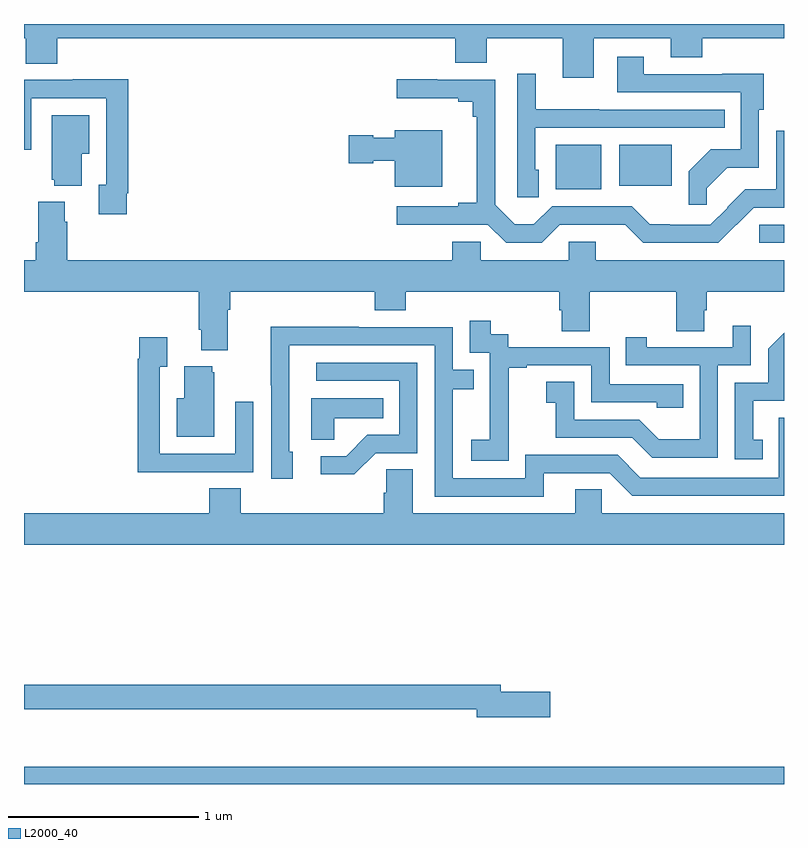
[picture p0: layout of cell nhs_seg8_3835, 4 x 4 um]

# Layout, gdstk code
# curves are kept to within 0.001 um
import gdstk
lib = gdstk.Library(unit=1e-6, precision=1e-09)
def R(c, l, rs):  # rectangles x0, y0, x1, y1
    for r in rs: c.add(gdstk.rectangle(r[:2], r[2:], *l))
def P(c, l, *ps):  # polygons
    for p in ps: c.add(gdstk.Polygon(p, *l))
L2000_40 = (2000, 40)

nhs_seg8_3835 = lib.new_cell('nhs_seg8_3835')
R(nhs_seg8_3835, L2000_40, [(347,1121.9,351,1121.992), (350.871,1124.748,351,1124.844), (349.799,1125.029,350.038,1125.265), (350.132,1125.05,350.41,1125.265)])
P(nhs_seg8_3835, L2000_40, [(349.999,1125.824),(350.405,1125.824),(350.405,1125.725),(350.569,1125.725),(350.569,1125.824),(351,1125.824),(351,1125.9),(347,1125.9),(347,1125.824),(347.009,1125.824),(347.009,1125.691),(347.174,1125.691),(347.174,1125.824),(349.271,1125.824),(349.271,1125.696),(349.435,1125.696),(349.435,1125.824),(349.835,1125.824),(349.835,1125.618),(349.999,1125.618)],
  [(350.594,1125.036),(350.702,1125.144),(350.868,1125.144),(350.868,1125.45),(350.893,1125.45),(350.893,1125.638),(350.675,1125.638),(350.675,1125.636),(350.263,1125.636),(350.263,1125.727),(350.123,1125.727),(350.123,1125.54),(350.772,1125.54),(350.772,1125.24),(350.615,1125.24),(350.499,1125.124),(350.499,1124.949),(350.594,1124.949)],
  [(349.708,1125.132),(349.692,1125.132),(349.692,1125.354),(350.687,1125.354),(350.687,1125.45),(350.027,1125.45),(350.027,1125.451),(349.693,1125.451),(349.693,1125.637),(349.596,1125.637),(349.596,1124.989),(349.708,1124.989)],
  [(347.542,1125.01),(347.549,1125.01),(347.549,1125.608),(347.257,1125.608),(347.257,1125.606),(347,1125.606),(347,1125.237),(347.037,1125.237),(347.037,1125.51),(347.433,1125.51),(347.433,1125.054),(347.393,1125.054),(347.393,1124.898),(347.542,1124.898)],
  [(349.821,1124.844),(350.165,1124.843),(350.259,1124.748),(350.653,1124.748),(350.841,1124.934),(351,1124.934),(351,1125.337),(350.958,1125.337),(350.958,1125.03),(350.795,1125.03),(350.701,1124.936),(350.703,1124.934),(350.613,1124.844),(350.398,1124.844),(350.398,1124.846),(350.294,1124.846),(350.199,1124.94),(349.779,1124.94),(349.684,1124.845),(349.583,1124.845),(349.479,1124.949),(349.479,1125.606),(349.175,1125.606),(349.175,1125.608),(348.963,1125.608),(348.963,1125.509),(349.286,1125.509),(349.286,1125.49),(349.363,1125.49),(349.363,1125.413),(349.382,1125.413),(349.382,1124.96),(349.286,1124.96),(349.286,1124.94),(348.963,1124.94),(348.963,1124.843),(349.442,1124.844),(349.538,1124.748),(349.725,1124.748)],
  [(347.305,1125.218),(347.344,1125.218),(347.344,1125.421),(347.147,1125.421),(347.147,1125.081),(347.159,1125.081),(347.159,1125.05),(347.305,1125.05)],
  [(349.201,1125.34),(348.95,1125.34),(348.95,1125.301),(348.837,1125.301),(348.837,1125.314),(348.708,1125.314),(348.708,1125.167),(348.837,1125.167),(348.837,1125.179),(348.95,1125.179),(348.95,1125.044),(349.201,1125.044)],
  [(348.073,1124.396),(348.086,1124.396),(348.086,1124.492),(348.845,1124.492),(348.845,1124.393),(349.01,1124.393),(349.01,1124.492),(349.817,1124.492),(349.817,1124.394),(349.829,1124.394),(349.829,1124.284),(349.977,1124.284),(349.977,1124.492),(350.434,1124.492),(350.434,1124.284),(350.581,1124.284),(350.581,1124.394),(350.594,1124.394),(350.594,1124.492),(351,1124.492),(351,1124.656),(350.008,1124.656),(350.008,1124.754),(349.866,1124.754),(349.866,1124.656),(349.404,1124.656),(349.404,1124.754),(349.253,1124.754),(349.253,1124.656),(347.228,1124.656),(347.228,1124.858),(347.215,1124.858),(347.215,1124.965),(347.075,1124.965),(347.075,1124.752),(347.063,1124.752),(347.063,1124.656),(347,1124.656),(347,1124.492),(347.921,1124.492),(347.921,1124.29),(347.933,1124.29),(347.933,1124.183),(348.073,1124.183)],
  [(349.551,1123.807),(349.55,1123.807),(349.55,1124.091),(349.645,1124.091),(349.645,1124.103),(349.986,1124.103),(349.986,1123.908),(350.331,1123.908),(350.331,1123.881),(350.471,1123.881),(350.471,1124.004),(350.082,1124.004),(350.082,1124.199),(349.548,1124.199),(349.548,1124.268),(349.456,1124.268),(349.456,1124.338),(349.347,1124.338),(349.347,1124.169),(349.452,1124.169),(349.452,1123.94),(349.451,1123.94),(349.451,1123.711),(349.353,1123.711),(349.353,1123.601),(349.551,1123.601)],
  [(350.652,1124.103),(350.826,1124.103),(350.826,1124.311),(350.729,1124.311),(350.729,1124.199),(350.278,1124.199),(350.278,1124.251),(350.167,1124.251),(350.167,1124.103),(350.556,1124.103),(350.556,1123.714),(350.342,1123.714),(350.238,1123.818),(349.896,1123.818),(349.896,1124.017),(349.749,1124.017),(349.749,1123.907),(349.798,1123.907),(349.798,1123.722),(350.201,1123.722),(350.306,1123.617),(350.652,1123.617)],
  [(349.735,1123.536),(350.082,1123.536),(350.202,1123.416),(351,1123.416),(351,1123.827),(350.973,1123.827),(350.973,1123.512),(350.244,1123.512),(350.124,1123.632),(349.638,1123.632),(349.638,1123.509),(349.257,1123.509),(349.257,1123.978),(349.367,1123.978),(349.367,1124.079),(349.257,1124.079),(349.257,1124.304),(348.761,1124.304),(348.761,1124.306),(348.298,1124.306),(348.298,1123.999),(348.3,1123.999),(348.3,1123.506),(348.415,1123.506),(348.415,1123.65),(348.396,1123.65),(348.396,1124.208),(349.161,1124.208),(349.161,1123.413),(349.735,1123.413)],
  [(350.888,1123.713),(350.839,1123.713),(350.839,1123.917),(351,1123.917),(351,1124.274),(350.916,1124.19),(350.916,1124.013),(350.742,1124.013),(350.742,1123.608),(350.888,1123.608)],
  [(347.891,1123.542),(348.207,1123.542),(348.207,1123.912),(348.111,1123.912),(348.111,1123.638),(347.715,1123.638),(347.715,1124.095),(347.755,1124.095),(347.755,1124.251),(347.607,1124.251),(347.607,1124.138),(347.599,1124.138),(347.599,1123.541),(347.891,1123.541)],
  [(348.852,1123.641),(349.071,1123.641),(349.071,1124.118),(348.537,1124.118),(348.537,1124.022),(348.975,1124.022),(348.975,1123.737),(348.806,1123.737),(348.695,1123.626),(348.561,1123.626),(348.561,1123.529),(348.739,1123.529)],
  [(348.001,1124.067),(347.99,1124.067),(347.99,1124.098),(347.843,1124.098),(347.843,1123.93),(347.804,1123.93),(347.804,1123.727),(348.001,1123.727)],
  [(348.633,1123.826),(348.89,1123.826),(348.89,1123.93),(348.512,1123.93),(348.512,1123.711),(348.633,1123.711)],
  [(351,1123.324),(350.04,1123.324),(350.04,1123.451),(349.901,1123.451),(349.901,1123.324),(349.045,1123.324),(349.045,1123.556),(348.906,1123.556),(348.906,1123.433),(348.893,1123.433),(348.893,1123.324),(348.14,1123.324),(348.14,1123.457),(347.975,1123.457),(347.975,1123.324),(347,1123.324),(347,1123.16),(351,1123.16)],
  [(349.771,1122.386),(349.51,1122.386),(349.51,1122.422),(347,1122.422),(347,1122.294),(349.382,1122.294),(349.382,1122.251),(349.771,1122.251)])

lib.write_gds('nhs_seg8_3835.gds')
